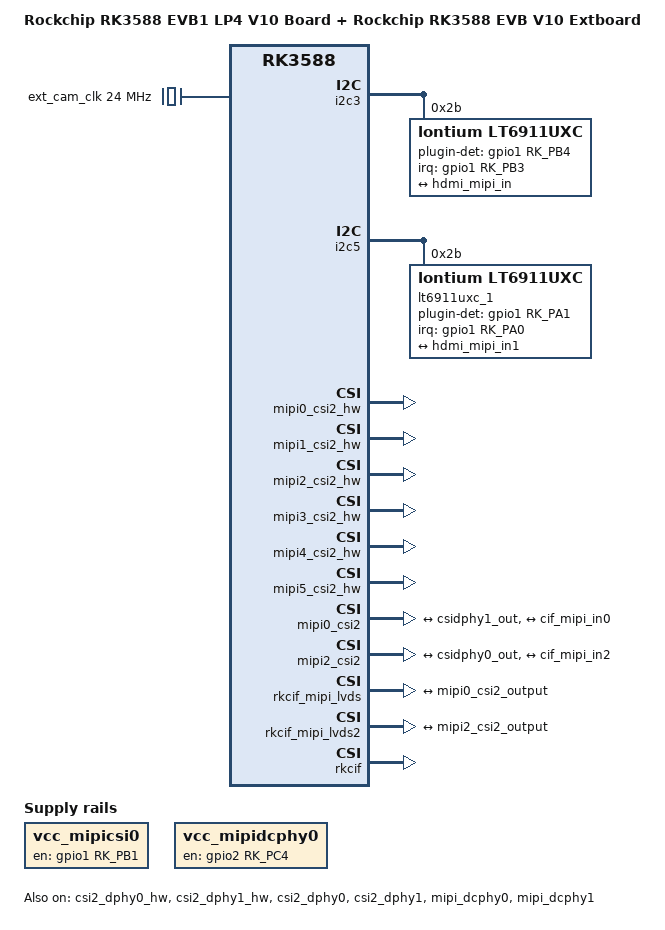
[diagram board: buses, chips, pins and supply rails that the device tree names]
// SPDX-License-Identifier: (GPL-2.0+ OR MIT)
/*
 * Copyright (c) 2022 Rockchip Electronics Co., Ltd.
 *
 */
/dts-v1/;

#include "rk3588-evb1-lp4.dtsi"
#include "rk3588-android.dtsi"

/ {
	model = "Rockchip RK3588 EVB1 LP4 V10 Board + Rockchip RK3588 EVB V10 Extboard";
	compatible = "rockchip,rk3588-evb1-lp4-lt6911uxc-dual-mipi", "rockchip,rk3588";

	vcc_mipicsi0: vcc-mipicsi0-regulator {
		compatible = "regulator-fixed";
		gpio = <&gpio1 RK_PB1 GPIO_ACTIVE_HIGH>;
		pinctrl-names = "default";
		pinctrl-0 = <&mipicsi0_pwr>;
		regulator-name = "vcc_mipicsi0";
		enable-active-high;
		regulator-boot-on;
		regulator-always-on;
	};

	vcc_mipidcphy0: vcc-mipidcphy0-regulator {
		compatible = "regulator-fixed";
		gpio = <&gpio2 RK_PC4 GPIO_ACTIVE_HIGH>;
		pinctrl-names = "default";
		pinctrl-0 = <&mipidcphy0_pwr>;
		regulator-name = "vcc_mipidcphy0";
		enable-active-high;
		regulator-boot-on;
		regulator-always-on;
	};

	ext_cam_clk: external-camera-clock {
		compatible = "fixed-clock";
		clock-frequency = <24000000>;
		clock-output-names = "CLK_CAMERA_24MHZ";
		#clock-cells = <0>;
	};
};

&csi2_dphy0_hw {
	status = "okay";
};

&csi2_dphy1_hw {
	status = "okay";
};

&csi2_dphy0 {
	status = "okay";

	ports {
		#address-cells = <1>;
		#size-cells = <0>;
		port@0 {
			reg = <0>;
			#address-cells = <1>;
			#size-cells = <0>;

			hdmi_mipi_in: endpoint@1 {
				reg = <1>;
				remote-endpoint = <&lt6911uxc_out0>;
				data-lanes = <1 2 3 4>;
			};
		};
		port@1 {
			reg = <1>;
			#address-cells = <1>;
			#size-cells = <0>;

			csidphy0_out: endpoint@0 {
				reg = <0>;
				remote-endpoint = <&mipi2_csi2_input>;
			};
		};
	};
};

&csi2_dphy1 {
	status = "okay";

	ports {
		#address-cells = <1>;
		#size-cells = <0>;
		port@0 {
			reg = <0>;
			#address-cells = <1>;
			#size-cells = <0>;

			hdmi_mipi_in1: endpoint@1 {
				reg = <1>;
				remote-endpoint = <&lt6911uxc_out1>;
				data-lanes = <1 2 3 4>;
			};
		};
		port@1 {
			reg = <1>;
			#address-cells = <1>;
			#size-cells = <0>;

			csidphy1_out: endpoint@0 {
				reg = <0>;
				remote-endpoint = <&mipi0_csi2_input>;
			};
		};
	};
};

&i2c3 {
	status = "okay";

	lt6911uxc: lt6911uxc@2b {
		compatible = "lontium,lt6911uxc";
		status = "okay";
		reg = <0x2b>;
		clocks = <&ext_cam_clk>;
		clock-names = "xvclk";
		power-domains = <&power RK3588_PD_VI>;
		pinctrl-names = "default";
		pinctrl-0 = <&lt6911uxc_pin_1>;
		interrupt-parent = <&gpio1>;
		interrupts = <RK_PB3 IRQ_TYPE_LEVEL_LOW>;
		// reset-gpios = <&gpio1 RK_PB1 GPIO_ACTIVE_LOW>;
		// power-gpios = <&gpio1 RK_PA6 GPIO_ACTIVE_HIGH>;
		plugin-det-gpios = <&gpio1 RK_PB4 GPIO_ACTIVE_HIGH>;
		rockchip,camera-module-index = <0>;
		rockchip,camera-module-facing = "back";
		rockchip,camera-module-name = "HDMI-MIPI2";
		rockchip,camera-module-lens-name = "LT6911UXC-2";

		multi-dev-info {
			dev-idx-l = <4>;
			dev-idx-r = <2>;
			combine-idx = <2>;
			pixel-offset = <0>;
			dev-num = <2>;
		};

		port {
			lt6911uxc_out0: endpoint {
				remote-endpoint = <&hdmi_mipi_in>;
				data-lanes = <1 2 3 4>;
			};
		};
	};
};

&i2c5 {
	status = "okay";

	lt6911uxc_1: lt6911uxc_1@2b {
		compatible = "lontium,lt6911uxc";
		status = "okay";
		reg = <0x2b>;
		clocks = <&ext_cam_clk>;
		clock-names = "xvclk";
		power-domains = <&power RK3588_PD_VI>;
		pinctrl-names = "default";
		pinctrl-0 = <&lt6911uxc_pin>;
		interrupt-parent = <&gpio1>;
		interrupts = <RK_PA0 IRQ_TYPE_LEVEL_LOW>;
		// reset-gpios = <&gpio1 RK_PB1 GPIO_ACTIVE_LOW>;
		// power-gpios = <&gpio1 RK_PA6 GPIO_ACTIVE_HIGH>;
		// plugin-det-gpios = <&gpio1 RK_PB4 GPIO_ACTIVE_LOW>;
		plugin-det-gpios = <&gpio1 RK_PA1 GPIO_ACTIVE_HIGH>;
		rockchip,camera-module-index = <1>;
		rockchip,camera-module-facing = "front";
		rockchip,camera-module-name = "HDMI-MIPI0";
		rockchip,camera-module-lens-name = "LT6911UXC-1";

		multi-dev-info {
			dev-idx-l = <1>;
			dev-idx-r = <0>;
			combine-idx = <0>;
			pixel-offset = <0>;
			dev-num = <2>;
		};

		port {
			lt6911uxc_out1: endpoint {
				remote-endpoint = <&hdmi_mipi_in1>;
				data-lanes = <1 2 3 4>;
			};
		};
	};
};

&mipi_dcphy0 {
	status = "okay";
};

&mipi_dcphy1 {
	status = "okay";
};

&mipi0_csi2_hw {
	status = "okay";
};

&mipi1_csi2_hw {
	status = "okay";
};

&mipi2_csi2_hw {
	status = "okay";
};

&mipi3_csi2_hw {
	status = "okay";
};

&mipi4_csi2_hw {
	status = "okay";
};

&mipi5_csi2_hw {
	status = "okay";
};

&mipi0_csi2 {
	status = "okay";

	ports {
		#address-cells = <1>;
		#size-cells = <0>;

		port@0 {
			reg = <0>;
			#address-cells = <1>;
			#size-cells = <0>;

			mipi0_csi2_input: endpoint@1 {
				reg = <1>;
				remote-endpoint = <&csidphy1_out>;
			};
		};

		port@1 {
			reg = <1>;
			#address-cells = <1>;
			#size-cells = <0>;

			mipi0_csi2_output: endpoint@0 {
				reg = <0>;
				remote-endpoint = <&cif_mipi_in0>;
			};
		};
	};
};

&mipi2_csi2 {
	status = "okay";

	ports {
		#address-cells = <1>;
		#size-cells = <0>;

		port@0 {
			reg = <0>;
			#address-cells = <1>;
			#size-cells = <0>;

			mipi2_csi2_input: endpoint@1 {
				reg = <1>;
				remote-endpoint = <&csidphy0_out>;
			};
		};

		port@1 {
			reg = <1>;
			#address-cells = <1>;
			#size-cells = <0>;

			mipi2_csi2_output: endpoint@0 {
				reg = <0>;
				remote-endpoint = <&cif_mipi_in2>;
			};
		};
	};
};

&rkcif_mipi_lvds {
	status = "okay";

	port {
		cif_mipi_in0: endpoint {
			remote-endpoint = <&mipi0_csi2_output>;
		};
	};
};

&rkcif_mipi_lvds2 {
	status = "okay";

	port {
		cif_mipi_in2: endpoint {
			remote-endpoint = <&mipi2_csi2_output>;
		};
	};
};

&rkcif {
	status = "okay";
};

&rkcif_mmu {
	status = "okay";
};

&pinctrl {
	hdmiin {
		lt6911uxc_pin: lt6911uxc-pin {
			rockchip,pins = <1 RK_PA0 RK_FUNC_GPIO &pcfg_pull_none>,
					<1 RK_PA1 RK_FUNC_GPIO &pcfg_pull_none>;
		};

		lt6911uxc_pin_1: lt6911uxc-pin-1 {
			rockchip,pins = <1 RK_PB3 RK_FUNC_GPIO &pcfg_pull_none>,
					<1 RK_PB4 RK_FUNC_GPIO &pcfg_pull_none>;
		};
	};
};
